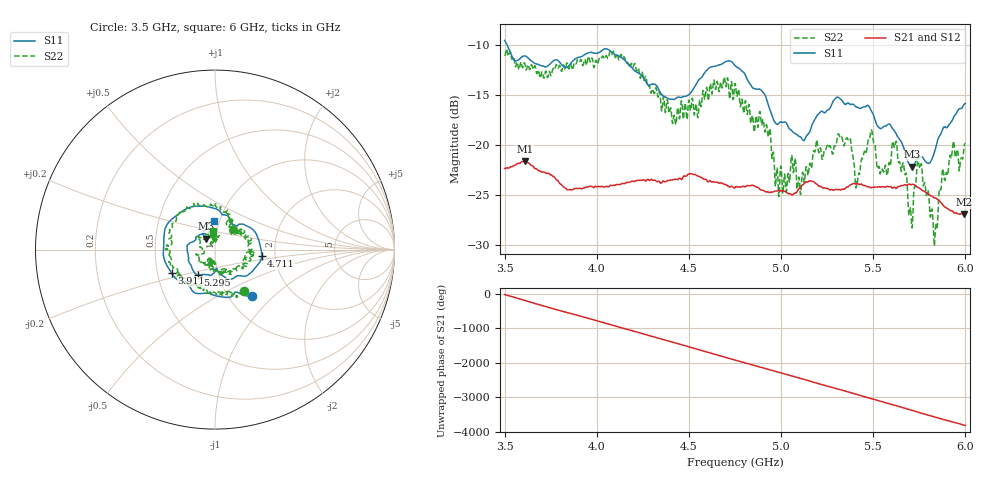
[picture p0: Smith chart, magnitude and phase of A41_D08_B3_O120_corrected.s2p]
! Created with skrf 1.9.0 (http://scikit-rf.org).
# Hz S RI R 50.0
!freq ReS11 ImS11 ReS21 ImS21 ReS12 ImS12 ReS22 ImS22
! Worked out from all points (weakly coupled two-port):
!   1601 points, 3.5 GHz to 6 GHz, reference 50 ohm
!   highest |S21| = -21.64 dB at 3.609 GHz (marker M1); lowest = -26.9 dB at 5.994 GHz (marker M2)
!   lowest |S11| = -22.2 dB at 5.713 GHz (marker M3), VSWR 1.17, Z = 45.1 + j5.57 ohm
!   |S11| at or under -10 dB: 3.513 GHz to end of sweep
!   |S22| runs from -30.1 to -10.4 dB; largest |S21 - S12| = 0.00099
!   S11 on the Smith chart (normalised r, x): 3.5 GHz: 1.27, -0.75; 3.911 GHz: 0.59, -0.17; 4.711 GHz: 1.70, -0.12; 5.295 GHz: 0.79, -0.23; 6 GHz: 0.94, +0.31
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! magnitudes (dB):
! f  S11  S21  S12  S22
! 3.5 GHz  -9.6  -22.3  -22.3  -11.0
! 3.609 GHz  -11.1  -21.6  -21.6  -11.9
! 3.911 GHz  -11.2  -24.3  -24.3  -11.5
! 3.917 GHz  -11.2  -24.4  -24.4  -11.6
! 4.334 GHz  -14.4  -23.6  -23.6  -15.2
! 4.42 GHz  -15.4  -23.4  -23.4  -17.0
! 4.711 GHz  -11.6  -24.1  -24.1  -13.4
! 4.75 GHz  -12.1  -24.3  -24.2  -13.9
! 4.931 GHz  -16.0  -24.7  -24.7  -19.2
! 4.98 GHz  -18.0  -24.6  -24.6  -22.4
! 5.167 GHz  -18.0  -23.6  -23.6  -22.1
! 5.295 GHz  -15.4  -24.4  -24.4  -20.1
! 5.412 GHz  -16.2  -23.8  -23.8  -23.7
! 5.486 GHz  -16.5  -24.3  -24.2  -18.8
! 5.584 GHz  -17.9  -24.2  -24.2  -21.8
! 5.617 GHz  -18.7  -24.2  -24.2  -20.1
! 5.713 GHz  -22.2  -23.9  -23.9  -28.0
! 5.752 GHz  -21.3  -24.3  -24.3  -22.3
! 5.838 GHz  -20.4  -25.3  -25.3  -28.2
! 5.927 GHz  -17.6  -26.6  -26.5  -20.9
! 5.994 GHz  -15.9  -26.9  -26.9  -20.0
! 6 GHz  -15.9  -26.9  -26.9  -19.9
